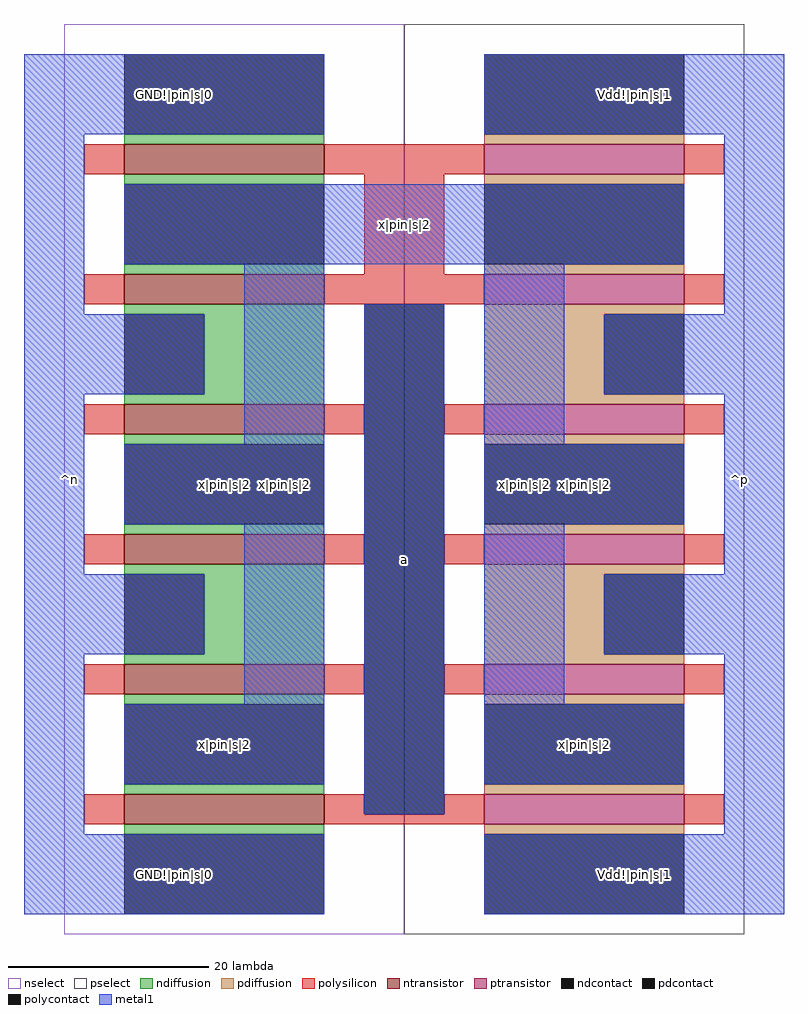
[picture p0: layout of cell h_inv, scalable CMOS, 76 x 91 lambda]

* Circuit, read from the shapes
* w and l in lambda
.subckt h_inv GND!|pin|s|0 Vdd!|pin|s|1 a x|pin|s|2
M1 x|pin|s|2 a GND!|pin|s|0 VSUBS nfet w=20 l=3 m=6
M2 x|pin|s|2 a Vdd!|pin|s|1 NWELL pfet w=20 l=3 m=6
.ends

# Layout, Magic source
magic
tech scmos
<< nselect >>
rect -34 -28 0 63
<< pselect >>
rect 0 -28 34 63
<< ndiffusion >>
rect -28 51 -8 52
rect -28 47 -8 48
rect -28 38 -8 39
rect -28 34 -8 35
rect -20 26 -8 34
rect -28 25 -8 26
rect -28 21 -8 22
rect -28 12 -8 13
rect -28 8 -8 9
rect -20 0 -8 8
rect -28 -1 -8 0
rect -28 -5 -8 -4
rect -28 -14 -8 -13
rect -28 -18 -8 -17
<< pdiffusion >>
rect 8 51 28 52
rect 8 47 28 48
rect 8 38 28 39
rect 8 34 28 35
rect 8 26 20 34
rect 8 25 28 26
rect 8 21 28 22
rect 8 12 28 13
rect 8 8 28 9
rect 8 0 20 8
rect 8 -1 28 0
rect 8 -5 28 -4
rect 8 -14 28 -13
rect 8 -18 28 -17
<< ntransistor >>
rect -28 48 -8 51
rect -28 35 -8 38
rect -28 22 -8 25
rect -28 9 -8 12
rect -28 -4 -8 -1
rect -28 -17 -8 -14
<< ptransistor >>
rect 8 48 28 51
rect 8 35 28 38
rect 8 22 28 25
rect 8 9 28 12
rect 8 -4 28 -1
rect 8 -17 28 -14
<< polysilicon >>
rect -32 48 -28 51
rect -8 48 8 51
rect 28 48 32 51
rect -4 38 4 48
rect -32 35 -28 38
rect -8 35 8 38
rect 28 35 32 38
rect -32 22 -28 25
rect -8 22 -4 25
rect -32 9 -28 12
rect -8 9 -4 12
rect -32 -4 -28 -1
rect -8 -4 -4 -1
rect -32 -17 -28 -14
rect -8 -16 -4 -14
rect 4 22 8 25
rect 28 22 32 25
rect 4 9 8 12
rect 28 9 32 12
rect 4 -4 8 -1
rect 28 -4 32 -1
rect 4 -16 8 -14
rect -8 -17 8 -16
rect 28 -17 32 -14
<< ndcontact >>
rect -28 52 -8 60
rect -28 39 -8 47
rect -28 26 -20 34
rect -28 13 -8 21
rect -28 0 -20 8
rect -28 -13 -8 -5
rect -28 -26 -8 -18
<< pdcontact >>
rect 8 52 28 60
rect 8 39 28 47
rect 20 26 28 34
rect 8 13 28 21
rect 20 0 28 8
rect 8 -13 28 -5
rect 8 -26 28 -18
<< polycontact >>
rect -4 -16 4 35
<< metal1 >>
rect -38 52 -8 60
rect 8 52 38 60
rect -38 34 -32 52
rect -28 39 28 47
rect -38 26 -20 34
rect -38 8 -32 26
rect -16 21 -8 39
rect -28 13 -8 21
rect -38 0 -20 8
rect -38 -18 -32 0
rect -16 -5 -8 13
rect -28 -13 -8 -5
rect -4 -16 4 35
rect 8 21 16 39
rect 32 34 38 52
rect 20 26 38 34
rect 8 13 28 21
rect 8 -5 16 13
rect 32 8 38 26
rect 20 0 38 8
rect 8 -13 28 -5
rect 32 -18 38 0
rect -38 -26 -8 -18
rect 8 -26 38 -18
<< labels >>
rlabel metal1 -4 -16 4 35 1 a
rlabel space -39 -28 -28 63 7 ^n
rlabel space 28 -28 39 63 3 ^p
rlabel metal1 -38 -26 -8 -18 1 GND!|pin|s|0
rlabel metal1 -38 52 -8 60 1 GND!|pin|s|0
rlabel metal1 -38 -26 -32 60 3 GND!|pin|s|0
rlabel metal1 8 -26 38 -18 1 Vdd!|pin|s|1
rlabel metal1 32 -26 38 60 7 Vdd!|pin|s|1
rlabel metal1 8 52 38 60 1 Vdd!|pin|s|1
rlabel metal1 -28 39 28 47 1 x|pin|s|2
rlabel metal1 -28 -13 -8 -5 1 x|pin|s|2
rlabel metal1 -28 13 -8 21 1 x|pin|s|2
rlabel metal1 8 13 28 21 1 x|pin|s|2
rlabel metal1 8 -13 28 -5 1 x|pin|s|2
rlabel metal1 -16 -13 -8 47 1 x|pin|s|2
rlabel metal1 8 -13 16 47 1 x|pin|s|2
<< end >>
